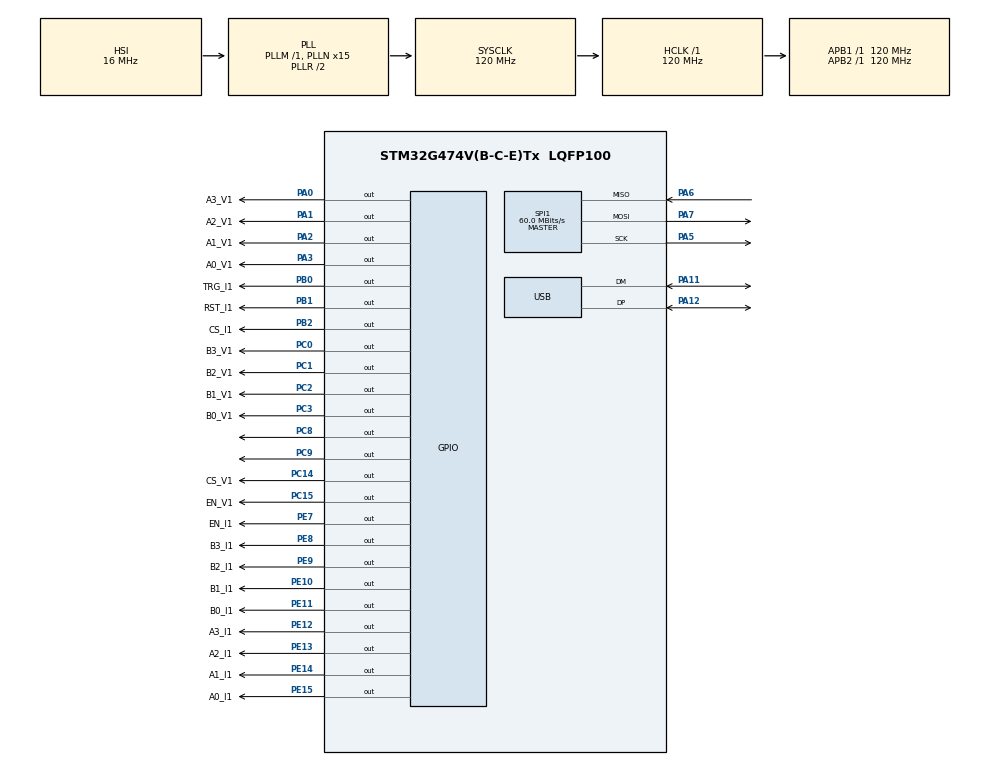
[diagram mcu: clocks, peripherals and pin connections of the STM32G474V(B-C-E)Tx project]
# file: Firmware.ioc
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Dma.Request0=TIM2_UP
Dma.Request1=TIM2_CH1
Dma.Request2=TIM2_CH2
Dma.Request3=TIM2_CH3
Dma.TIM2_CH1.1.Direction=DMA_MEMORY_TO_PERIPH
Dma.TIM2_CH1.1.EventEnable=DISABLE
Dma.TIM2_CH1.1.Instance=DMA1_Channel2
Dma.TIM2_CH1.1.MemDataAlignment=DMA_MDATAALIGN_WORD
Dma.TIM2_CH1.1.MemInc=DMA_MINC_ENABLE
Dma.TIM2_CH1.1.Mode=DMA_NORMAL
Dma.TIM2_CH1.1.PeriphDataAlignment=DMA_PDATAALIGN_WORD
Dma.TIM2_CH1.1.PeriphInc=DMA_PINC_DISABLE
Dma.TIM2_CH1.1.Polarity=HAL_DMAMUX_REQ_GEN_RISING
Dma.TIM2_CH1.1.Priority=DMA_PRIORITY_HIGH
Dma.TIM2_CH1.1.RequestNumber=1
Dma.TIM2_CH1.1.SignalID=NONE
Dma.TIM2_CH1.1.SyncEnable=DISABLE
Dma.TIM2_CH1.1.SyncPolarity=HAL_DMAMUX_SYNC_NO_EVENT
Dma.TIM2_CH1.1.SyncRequestNumber=1
Dma.TIM2_CH1.1.SyncSignalID=NONE
Dma.TIM2_CH2.2.Direction=DMA_MEMORY_TO_PERIPH
Dma.TIM2_CH2.2.EventEnable=DISABLE
Dma.TIM2_CH2.2.Instance=DMA1_Channel3
Dma.TIM2_CH2.2.MemDataAlignment=DMA_MDATAALIGN_WORD
Dma.TIM2_CH2.2.MemInc=DMA_MINC_ENABLE
Dma.TIM2_CH2.2.Mode=DMA_NORMAL
Dma.TIM2_CH2.2.PeriphDataAlignment=DMA_PDATAALIGN_WORD
Dma.TIM2_CH2.2.PeriphInc=DMA_PINC_DISABLE
Dma.TIM2_CH2.2.Polarity=HAL_DMAMUX_REQ_GEN_RISING
Dma.TIM2_CH2.2.Priority=DMA_PRIORITY_HIGH
Dma.TIM2_CH2.2.RequestNumber=1
Dma.TIM2_CH2.2.SignalID=NONE
Dma.TIM2_CH2.2.SyncEnable=DISABLE
Dma.TIM2_CH2.2.SyncPolarity=HAL_DMAMUX_SYNC_NO_EVENT
Dma.TIM2_CH2.2.SyncRequestNumber=1
Dma.TIM2_CH2.2.SyncSignalID=NONE
Dma.TIM2_CH3.3.Direction=DMA_PERIPH_TO_MEMORY
Dma.TIM2_CH3.3.EventEnable=DISABLE
Dma.TIM2_CH3.3.Instance=DMA1_Channel4
Dma.TIM2_CH3.3.MemDataAlignment=DMA_MDATAALIGN_HALFWORD
Dma.TIM2_CH3.3.MemInc=DMA_MINC_ENABLE
Dma.TIM2_CH3.3.Mode=DMA_NORMAL
Dma.TIM2_CH3.3.PeriphDataAlignment=DMA_PDATAALIGN_HALFWORD
Dma.TIM2_CH3.3.PeriphInc=DMA_PINC_DISABLE
Dma.TIM2_CH3.3.Polarity=HAL_DMAMUX_REQ_GEN_RISING
Dma.TIM2_CH3.3.Priority=DMA_PRIORITY_VERY_HIGH
Dma.TIM2_CH3.3.RequestNumber=1
Dma.TIM2_CH3.3.SignalID=NONE
Dma.TIM2_CH3.3.SyncEnable=DISABLE
Dma.TIM2_CH3.3.SyncPolarity=HAL_DMAMUX_SYNC_NO_EVENT
Dma.TIM2_CH3.3.SyncRequestNumber=1
Dma.TIM2_CH3.3.SyncSignalID=NONE
Dma.TIM2_UP.0.Direction=DMA_MEMORY_TO_PERIPH
Dma.TIM2_UP.0.EventEnable=DISABLE
Dma.TIM2_UP.0.Instance=DMA1_Channel1
Dma.TIM2_UP.0.MemDataAlignment=DMA_MDATAALIGN_HALFWORD
Dma.TIM2_UP.0.MemInc=DMA_MINC_ENABLE
Dma.TIM2_UP.0.Mode=DMA_NORMAL
Dma.TIM2_UP.0.PeriphDataAlignment=DMA_PDATAALIGN_HALFWORD
Dma.TIM2_UP.0.PeriphInc=DMA_PINC_DISABLE
Dma.TIM2_UP.0.Polarity=HAL_DMAMUX_REQ_GEN_RISING
Dma.TIM2_UP.0.Priority=DMA_PRIORITY_VERY_HIGH
Dma.TIM2_UP.0.RequestNumber=1
Dma.TIM2_UP.0.SignalID=NONE
Dma.TIM2_UP.0.SyncEnable=DISABLE
Dma.TIM2_UP.0.SyncPolarity=HAL_DMAMUX_SYNC_NO_EVENT
Dma.TIM2_UP.0.SyncRequestNumber=1
Dma.TIM2_UP.0.SyncSignalID=NONE
Mcu.Family=STM32G4
Mcu.Name=STM32G474V(B-C-E)Tx
Mcu.Package=LQFP100
NVIC.DMA1_Channel1_IRQn=true\:0\:0\:false\:false\:true\:false\:true\:true
NVIC.DMA1_Channel2_IRQn=true\:0\:0\:false\:false\:true\:false\:true\:true
NVIC.DMA1_Channel3_IRQn=true\:0\:0\:false\:false\:true\:false\:true\:true
NVIC.DMA1_Channel4_IRQn=true\:0\:0\:false\:false\:true\:false\:true\:true
NVIC.PriorityGroup=NVIC_PRIORITYGROUP_4
NVIC.SPI1_IRQn=true\:0\:0\:false\:false\:true\:true\:true\:true
NVIC.TIM2_IRQn=true\:0\:0\:false\:false\:true\:true\:true\:true
NVIC.USB_LP_IRQn=true\:0\:0\:false\:false\:true\:false\:true\:true
PA0.GPIO_Label=A3_V1
PA0.GPIO_PuPd=GPIO_PULLDOWN
PA0.Signal=GPIO_Output
PA1.GPIO_Label=A2_V1
PA1.GPIO_PuPd=GPIO_PULLDOWN
PA1.Signal=GPIO_Output
PA11.Mode=Device
PA11.Signal=USB_DM
PA12.Mode=Device
PA12.Signal=USB_DP
PA13.Mode=Serial_Wire
PA13.Signal=SYS_JTMS-SWDIO
PA14.Mode=Serial_Wire
PA14.Signal=SYS_JTCK-SWCLK
PA2.GPIO_Label=A1_V1
PA2.GPIO_PuPd=GPIO_PULLDOWN
PA2.Signal=GPIO_Output
PA3.GPIO_Label=A0_V1
PA3.GPIO_PuPd=GPIO_PULLDOWN
PA3.Signal=GPIO_Output
PA5.GPIO_Speed=GPIO_SPEED_FREQ_VERY_HIGH
PA5.Mode=Full_Duplex_Master
PA5.Signal=SPI1_SCK
PA6.GPIO_Speed=GPIO_SPEED_FREQ_VERY_HIGH
PA6.Mode=Full_Duplex_Master
PA6.Signal=SPI1_MISO
PA7.GPIO_Speed=GPIO_SPEED_FREQ_VERY_HIGH
PA7.Mode=Full_Duplex_Master
PA7.Signal=SPI1_MOSI
PB0.GPIO_Label=TRG_I1
PB0.PinState=GPIO_PIN_SET
PB0.Signal=GPIO_Output
PB1.GPIO_Label=RST_I1
PB1.PinState=GPIO_PIN_SET
PB1.Signal=GPIO_Output
PB2.GPIO_Label=CS_I1
PB2.PinState=GPIO_PIN_SET
PB2.Signal=GPIO_Output
PC0.GPIO_Label=B3_V1
PC0.GPIO_PuPd=GPIO_PULLDOWN
PC0.Signal=GPIO_Output
PC1.GPIO_Label=B2_V1
PC1.GPIO_PuPd=GPIO_PULLDOWN
PC1.Signal=GPIO_Output
PC14-OSC32_IN.GPIO_Label=CS_V1
PC14-OSC32_IN.GPIO_PuPd=GPIO_NOPULL
PC14-OSC32_IN.PinState=GPIO_PIN_SET
PC14-OSC32_IN.Signal=GPIO_Output
PC15-OSC32_OUT.GPIO_Label=EN_V1
PC15-OSC32_OUT.GPIO_PuPd=GPIO_PULLDOWN
PC15-OSC32_OUT.Signal=GPIO_Output
PC2.GPIO_Label=B1_V1
PC2.GPIO_PuPd=GPIO_PULLDOWN
PC2.Signal=GPIO_Output
PC3.GPIO_Label=B0_V1
PC3.GPIO_PuPd=GPIO_PULLDOWN
PC3.Signal=GPIO_Output
PC8.GPIO_PuPd=GPIO_NOPULL
PC8.PinState=GPIO_PIN_SET
PC8.Signal=GPIO_Output
PC9.GPIO_PuPd=GPIO_NOPULL
PC9.PinState=GPIO_PIN_SET
PC9.Signal=GPIO_Output
PE10.GPIO_Label=B1_I1
PE10.GPIO_PuPd=GPIO_PULLDOWN
PE10.Signal=GPIO_Output
PE11.GPIO_Label=B0_I1
PE11.GPIO_PuPd=GPIO_PULLDOWN
PE11.Signal=GPIO_Output
PE12.GPIO_Label=A3_I1
PE12.GPIO_PuPd=GPIO_PULLDOWN
PE12.Signal=GPIO_Output
PE13.GPIO_Label=A2_I1
PE13.GPIO_PuPd=GPIO_PULLDOWN
PE13.Signal=GPIO_Output
PE14.GPIO_Label=A1_I1
PE14.GPIO_PuPd=GPIO_PULLDOWN
PE14.Signal=GPIO_Output
PE15.GPIO_Label=A0_I1
PE15.GPIO_PuPd=GPIO_PULLDOWN
PE15.Signal=GPIO_Output
PE7.GPIO_Label=EN_I1
PE7.GPIO_PuPd=GPIO_PULLDOWN
PE7.Signal=GPIO_Output
PE8.GPIO_Label=B3_I1
PE8.GPIO_PuPd=GPIO_PULLDOWN
PE8.Signal=GPIO_Output
PE9.GPIO_Label=B2_I1
PE9.GPIO_PuPd=GPIO_PULLDOWN
PE9.Signal=GPIO_Output
ProjectManager.HeapSize=0x500
ProjectManager.StackSize=0x400
ProjectManager.TargetToolchain=STM32CubeIDE
RCC.ADC12Freq_Value=120000000
RCC.ADC345Freq_Value=120000000
RCC.AHBFreq_Value=120000000
RCC.APB1Freq_Value=120000000
RCC.APB1TimFreq_Value=120000000
RCC.APB2Freq_Value=120000000
RCC.APB2TimFreq_Value=120000000
RCC.CK48CLockSelection=RCC_USBCLKSOURCE_HSI48
RCC.CortexFreq_Value=120000000
RCC.EXTERNAL_CLOCK_VALUE=12288000
RCC.HCLKFreq_Value=120000000
RCC.HSE_VALUE=48000000
RCC.HSI48_VALUE=48000000
RCC.HSI_VALUE=16000000
RCC.LSE_VALUE=32768
RCC.PLLN=15
RCC.PLLQ=RCC_PLLQ_DIV4
RCC.SYSCLKFreq_VALUE=120000000
RCC.SYSCLKSource=RCC_SYSCLKSOURCE_PLLCLK
RCC.USBFreq_Value=48000000
RCC.VCOOutputFreq_Value=240000000
SPI1.BaudRatePrescaler=SPI_BAUDRATEPRESCALER_2
SPI1.CLKPhase=SPI_PHASE_1EDGE
SPI1.CalculateBaudRate=60.0 MBits/s
SPI1.DataSize=SPI_DATASIZE_16BIT
SPI1.Direction=SPI_DIRECTION_2LINES
SPI1.Mode=SPI_MODE_MASTER
SPI1.NSSPMode=SPI_NSS_PULSE_ENABLE
SPI1.VirtualType=VM_MASTER
TIM2.AutoReloadPreload=TIM_AUTORELOAD_PRELOAD_ENABLE
TIM2.Channel-PWM\ Generation1\ No\ Output=TIM_CHANNEL_1
TIM2.Channel-PWM\ Generation2\ No\ Output=TIM_CHANNEL_2
TIM2.Channel-PWM\ Generation3\ No\ Output=TIM_CHANNEL_3
TIM2.OCFastMode_PWM-PWM\ Generation1\ No\ Output=TIM_OCFAST_ENABLE
TIM2.OCFastMode_PWM-PWM\ Generation2\ No\ Output=TIM_OCFAST_ENABLE
TIM2.PeriodNoDither=12000
TIM2.PulseNoDither_1=0
TIM2.PulseNoDither_2=0
USB_DEVICE.CLASS_NAME_FS=CDC
USB_DEVICE.VirtualMode=Cdc
USB_DEVICE.VirtualModeFS=Cdc_FS
VP_SYS_VS_DBSignals.Mode=DisableDeadBatterySignals
VP_TIM2_VS_ClockSourceINT.Mode=Internal
VP_TIM2_VS_no_output1.Mode=PWM Generation1 No Output
VP_TIM2_VS_no_output2.Mode=PWM Generation2 No Output
VP_TIM2_VS_no_output3.Mode=PWM Generation3 No Output
VP_USB_DEVICE_VS_USB_DEVICE_CDC_FS.Mode=CDC_FS
board=custom

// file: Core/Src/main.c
/* USER CODE BEGIN Header */
/**
  ******************************************************************************
  * @file           : main.c
  * @brief          : Main program body
  ******************************************************************************
  * @attention
  *
  * Copyright (c) 2025 STMicroelectronics.
  * All rights reserved.
  *
  * This software is licensed under terms that can be found in the LICENSE file
  * in the root directory of this software component.
  * If no LICENSE file comes with this software, it is provided AS-IS.
  *
  ******************************************************************************
  */
/* USER CODE END Header */
#include "main.h"
#include "dma.h"
#include "spi.h"
#include "tim.h"
#include "usb_device.h"
#include "gpio.h"

/* USER CODE BEGIN Includes */
#include <stdbool.h>
#include <stdio.h>
#include <stdlib.h>
#include <string.h>
#include <math.h>
#include "usbd_cdc_if.h"
#include "Mux.h"
#include "Sense.h"
#include "AD9102.h"
#include "stm32g4xx_hal_spi.h"
/* USER CODE END Includes */

/* USER CODE BEGIN PD */
#define AD9102_CLK 50e6
#define F_TARG 50e3
#define F_BIN 100e3

#define N_EL 16

/* USER CODE END PD */

/* USER CODE BEGIN PV */
mux_t sense_V1;
mux_t stim_I1;
AD9102_t AD9102;
uint32_t gl_ticks = 0;
int16_t lut[4000] = {0};

/* USER CODE END PV */

void SystemClock_Config(void);
/* USER CODE BEGIN PFP */

void test_stim(void);
void get_frameSS(void);
void get_frameTR(void);
void test_bin(void);
void sendBuffer(uint8_t *adcBuffer, uint8_t packetType, uint16_t dataLength);
void getXframes(uint32_t Xframes);
void getXframesTdelay(uint32_t Xframes, uint32_t Tdelay);
void get_frameAlternate(bool is_even);
/* USER CODE END PFP */

int main(void)
{

  /* MCU Configuration--------------------------------------------------------*/

  /* Reset of all peripherals, Initializes the Flash interface and the Systick. */
  HAL_Init();

  /* Configure the system clock */
  SystemClock_Config();

  /* Initialize all configured peripherals */
  MX_GPIO_Init();
  MX_DMA_Init();
  MX_SPI1_Init();
  MX_TIM2_Init();
  MX_USB_Device_Init();
  /* USER CODE BEGIN 2 */

  initAD9102(&AD9102, GPIOB, TRG_I1_Pin, RST_I1_Pin, CS_I1_Pin, AD9102_CLK);

  mux_Init(&sense_V1,GPIOA, A0_V1_Pin, A1_V1_Pin, A2_V1_Pin, A3_V1_Pin,
			GPIOC, B0_V1_Pin, B1_V1_Pin, B2_V1_Pin, B3_V1_Pin,
			GPIOC, EN_V1_Pin);
  mux_Init(&stim_I1 ,GPIOE, A0_I1_Pin, A1_I1_Pin, A2_I1_Pin, A3_I1_Pin,
  			GPIOE, B0_I1_Pin, B1_I1_Pin, B2_I1_Pin, B3_I1_Pin,
  			GPIOE, EN_I1_Pin);

  HAL_Delay(1000);

  init_DDS(&AD9102, F_TARG);

  HAL_Delay(1000);

  /* USER CODE END 2 */

  /* Infinite loop */
  /* USER CODE BEGIN WHILE */
  while (1)
  {
	  get_frameSS();
    /* USER CODE END WHILE */

  }
}

void SystemClock_Config(void)
{
  RCC_OscInitTypeDef RCC_OscInitStruct = {0};
  RCC_ClkInitTypeDef RCC_ClkInitStruct = {0};

  /** Configure the main internal regulator output voltage
  */
  HAL_PWREx_ControlVoltageScaling(PWR_REGULATOR_VOLTAGE_SCALE1);

  /** Initializes the RCC Oscillators according to the specified parameters
  * in the RCC_OscInitTypeDef structure.
  */
  RCC_OscInitStruct.OscillatorType = RCC_OSCILLATORTYPE_HSI|RCC_OSCILLATORTYPE_HSI48;
  RCC_OscInitStruct.HSIState = RCC_HSI_ON;
  RCC_OscInitStruct.HSICalibrationValue = RCC_HSICALIBRATION_DEFAULT;
  RCC_OscInitStruct.HSI48State = RCC_HSI48_ON;
  RCC_OscInitStruct.PLL.PLLState = RCC_PLL_ON;
  RCC_OscInitStruct.PLL.PLLSource = RCC_PLLSOURCE_HSI;
  RCC_OscInitStruct.PLL.PLLM = RCC_PLLM_DIV1;
  RCC_OscInitStruct.PLL.PLLN = 15;
  RCC_OscInitStruct.PLL.PLLP = RCC_PLLP_DIV2;
  RCC_OscInitStruct.PLL.PLLQ = RCC_PLLQ_DIV4;
  RCC_OscInitStruct.PLL.PLLR = RCC_PLLR_DIV2;
  if (HAL_RCC_OscConfig(&RCC_OscInitStruct) != HAL_OK)
  {
    Error_Handler();
  }

  /** Initializes the CPU, AHB and APB buses clocks
  */
  RCC_ClkInitStruct.ClockType = RCC_CLOCKTYPE_HCLK|RCC_CLOCKTYPE_SYSCLK
                              |RCC_CLOCKTYPE_PCLK1|RCC_CLOCKTYPE_PCLK2;
  RCC_ClkInitStruct.SYSCLKSource = RCC_SYSCLKSOURCE_PLLCLK;
  RCC_ClkInitStruct.AHBCLKDivider = RCC_SYSCLK_DIV1;
  RCC_ClkInitStruct.APB1CLKDivider = RCC_HCLK_DIV1;
  RCC_ClkInitStruct.APB2CLKDivider = RCC_HCLK_DIV1;

  if (HAL_RCC_ClockConfig(&RCC_ClkInitStruct, FLASH_LATENCY_3) != HAL_OK)
  {
    Error_Handler();
  }
}

/* USER CODE BEGIN 4 */

void get_frameSS(void) {
	const uint32_t num_Meas = N_EL * N_EL - N_EL * 3;
	float measurements[num_Meas];
	uint32_t idx = 0;

	int16_t adcBuffer1[BUFFER_SIZE] = {0};
	int16_t adcBuffer2[BUFFER_SIZE] = {0};
	int16_t isFirst = 1;
	int16_t activeBuff = 0;

	for (size_t i = 1; i < (N_EL + 1); i++) {
		uint8_t stim1 = i;
		uint8_t stim2 = (i < 16) ? (i + 1) : 1;

		mux_SetMuxPos(&stim_I1, stim1);
		mux_SetMuxNeg(&stim_I1, stim2);
		mux_Enable(&stim_I1);
		enableOut(&AD9102);

		for (size_t j = 1; j < (N_EL + 1); j++) {
			uint8_t sense1 = j;
			uint8_t sense2 = (j < 16) ? (j + 1) : 1;
			if (stim1 != sense1 && stim1 != sense2 && stim2 != sense1 && stim2 != sense2) {
				mux_SetMuxPos(&sense_V1, sense1);
				mux_SetMuxNeg(&sense_V1, sense2);

				mux_Enable(&sense_V1);

				if (activeBuff == 0) {
					collect_Buffer(adcBuffer1,&AD9102);

					if (!isFirst) {
						float mag = get_Mag(adcBuffer2, F_TARG);
						measurements[idx] = mag;
						idx++;
					} else {
						isFirst = 0;
					}

					activeBuff = 1;
					waitBuffer();

//					sendBuffer((uint8_t*)adcBuffer1, 0x01, BUFFER_SIZE);
				} else {
					collect_Buffer(adcBuffer2,&AD9102);
					float mag = get_Mag(adcBuffer1, F_TARG);
					measurements[idx] = mag;
					idx++;
					activeBuff = 0;
					waitBuffer();

//					sendBuffer((uint8_t*)adcBuffer2, 0x01, BUFFER_SIZE);
				}

				mux_Disable(&sense_V1);

			}
		}
		disableOut(&AD9102);
		mux_Disable(&stim_I1);
	}

	if (activeBuff == 0) {
		collect_Buffer(adcBuffer1,&AD9102);
		float mag = get_Mag(adcBuffer2, F_TARG);
		measurements[idx] = mag;
		idx++;
		activeBuff = 1;
		waitBuffer();
//		sendBuffer((uint8_t*)adcBuffer1, 0x01, BUFFER_SIZE);
	} else {
		collect_Buffer(adcBuffer2,&AD9102);
		float mag = get_Mag(adcBuffer1, F_TARG);
		measurements[idx] = mag;
		idx++;
		waitBuffer();
//		sendBuffer((uint8_t*)adcBuffer2, 0x01, BUFFER_SIZE);
		activeBuff = 0;
	}

	sendBuffer((uint8_t*)measurements, 0x02, num_Meas);

	HAL_GPIO_TogglePin(GPIOC, GPIO_PIN_9);
}

void sendBuffer(uint8_t *data, uint8_t packetType, uint16_t dataLength) {
	//packetType 0x01 == uint16_t 0x02 == float
	uint8_t dataLengthMSB = (dataLength >> 8) & 0xFF;  // Extract MSB
	uint8_t dataLengthLSB = dataLength & 0xFF;         // Extract LSB

    uint8_t header[5] = {0xAA, 0x55, packetType, dataLengthMSB, dataLengthLSB};
    uint8_t footer[2] = {0x55, 0xAA};

    // Send header
    while (CDC_Transmit_FS(header, sizeof(header)) == USBD_BUSY);
    HAL_Delay(1);

    size_t dataSize = (packetType == 0x01) ? (dataLength * 2) : (dataLength * 4);
//     Send data in 64-byte chunks
    for (size_t i = 0; i < dataSize; i += 64) {
		while (CDC_Transmit_FS(&data[i], (dataSize - i > 64) ? 64 : dataSize - i) == USBD_BUSY);
	}

    // Send footer
    while (CDC_Transmit_FS(footer, sizeof(footer))== USBD_BUSY);
}

void getXframes(uint32_t Xframes) {
	for (size_t i = 0; i < Xframes; i++) {
		get_frameSS();
	}
}

void getXframesTdelay(uint32_t Xframes, uint32_t Tdelay) {
	getXframes(Xframes);
	for (size_t i = 0; i < Tdelay; i++) {
		HAL_Delay(1000);
	}
}

//void test_stim(void) {
//	mux_SetMuxPos(&stim_I1,1);
//	mux_SetMuxNeg(&stim_I1,2);
//	mux_Enable(&stim_I1);
//
//	mux_SetMuxPos(&sense_V1, 3);
//	mux_SetMuxNeg(&sense_V1, 4);
//	mux_Enable(&sense_V1);
//
//	enableOut(&AD9102);
//	HAL_Delay(10);
//	disableOut(&AD9102);
//
//	mux_Disable(&stim_I1);
//	mux_Disable(&sense_V1);
//	HAL_Delay(10);
//}
//
//
//void test_bin(void) {
//	const uint32_t num_Meas = N_EL * N_EL - N_EL * 3;
//	float measurements[num_Meas];
//	uint32_t idx = 0;
//
//	for (size_t i = 1; i < (N_EL + 1); i++) {
//		//	uint8_t stim1 = 1;
//		//	uint8_t stim2 = 2;
//		uint8_t stim1 = i;
//		uint8_t stim2 = (i < 16) ? (i + 1) : 1;
//
//		mux_SetMuxPos(&stim_I1, stim1);
//		mux_SetMuxNeg(&stim_I1, stim2);
//		mux_Enable(&stim_I1);
//
//		for (size_t j = 1; j < (N_EL + 1); j++) {
//	//	size_t j = 5;
//			uint8_t sense1 = j;
//			uint8_t sense2 = (j < 16) ? (j + 1) : 1;
//
//			if (stim1 != sense1 && stim1 != sense2 && stim2 != sense1) {
//				int16_t adcBuffer[BUFFER_SIZE] = {0};
//
//
//				mux_SetMuxPos(&sense_V1, sense1);
//				mux_SetMuxNeg(&sense_V1, sense2);
//				mux_Enable(&sense_V1);
//				HAL_Delay(1);
//
//				enableOut(&AD9102);
//
//	//			HAL_Delay(1);
//
//				collect_Buffer(adcBuffer,&AD9102);
//
//				disableOut(&AD9102);
//
//				mux_Disable(&sense_V1);
//
//				float mag = get_MagBin(adcBuffer, 0);
//				measurements[idx] = mag;
//				idx++;
//				sendBuffer((uint8_t*)adcBuffer, 0x01, BUFFER_SIZE);
//			}
//		}
//		mux_Disable(&stim_I1);
//	}
//
//
////	sendBuffer((uint8_t*)measurements, 0x02, 208);
////	HAL_Delay(1000);
//}
//
//void get_frameTR(void) {
//	int16_t adcBuffer[BUFFER_SIZE] = {0};
//	size_t i = 1;
//	size_t j = 3;
////	for (size_t i = 1; i < (N_EL + 1); i++) {
//		uint8_t stim1 = i;
//		uint8_t stim2 = (i < 16) ? (i + 1) : 1;
//
//		mux_SetMuxPos(&stim_I1, stim1);
//		mux_SetMuxNeg(&stim_I1, stim2);
//		mux_Enable(&stim_I1);
//
////		for (size_t j = 1; j < (N_EL + 1); j++) {
//			uint8_t sense1 = j;
//			uint8_t sense2 = (j < 16) ? (j + 1) : 1;
//
//			if (stim1 != sense1 && stim1 != sense2 && stim2 != sense1) {
//				mux_SetMuxPos(&sense_V1, sense1);
//				mux_SetMuxNeg(&sense_V1, sense2);
//				mux_Enable(&sense_V1);
//
//				collect_Buffer(adcBuffer,&AD9102);
//
//				enableOut(&AD9102);
//
//				waitBuffer();
//
//				disableOut(&AD9102);
//
//				sendBuffer((uint8_t*)adcBuffer, 0x01, BUFFER_SIZE);
//
//				mux_Disable(&sense_V1);
//			}
////		}
//		mux_Disable(&stim_I1);
////	}
//}

//void get_frameAlternate(bool is_even) {
//
//	const uint32_t num_Meas = N_EL * N_EL - N_EL * 3;
//	float measurements[num_Meas];
//	uint32_t count = 0;
//
//	int16_t adcBuffer1[BUFFER_SIZE] = {0};
//	int16_t adcBuffer2[BUFFER_SIZE] = {0};
//	int16_t isFirst = 1;
//	int16_t activeBuff = 0;
//
//	uint8_t stim1 = 1;
//	uint8_t stim2 = 2;
//	uint8_t sense1 = 3;
//	uint8_t sense2 = 4;
//	uint32_t idx = 1;
//	uint32_t jdx = 1;
//
//
//
//	for (size_t i = 1; i < (N_EL + 1); i++) {
//		if (is_even){
//			idx = 2 * i;
//			stim1 = idx;
//			stim2 = (idx < 16) ? (idx + 2) : 2;
//		} else {
//			idx = 2 * i - 1;
//			stim1 = idx;
//			stim2 = (idx < 15) ? (idx + 2) : 1;
//		}
//
//		mux_SetMuxPos(&stim_I1, stim1);
//		mux_SetMuxNeg(&stim_I1, stim2);
//		mux_Enable(&stim_I1);
//
//		for (size_t j = 1; j < (N_EL + 1); j++) {
//			if (is_even){
//				jdx = 2 * j;
//				sense1 = jdx;
//				sense2 = (jdx < 16) ? (jdx + 2) : 2;
//			} else {
//				jdx = 2 * j - 1;
//				sense1 = jdx;
//				sense2 = (jdx < 15) ? (jdx + 2) : 1;
//			}
//
//
//			if (stim1 != sense1 && stim1 != sense2 && stim2 != sense1) {
////				HAL_Delay(1000);
//				mux_SetMuxPos(&sense_V1, sense1);
//				mux_SetMuxNeg(&sense_V1, sense2);
//
//				mux_Enable(&sense_V1);
//
//				enableOut(&AD9102);
//
//				if (activeBuff == 0) {
//					collect_Buffer(adcBuffer1,&AD9102);
//
//					if (!isFirst) {
//						float mag = get_Mag(adcBuffer2, F_TARG);
//						measurements[count] = mag;
//						count++;
//					} else {
//						isFirst = 0;
//					}
//
//					activeBuff = 1;
//					waitBuffer();
//
////					sendBuffer((uint8_t*)adcBuffer1, 0x01, BUFFER_SIZE);
//				} else {
//					collect_Buffer(adcBuffer2,&AD9102);
//					float mag = get_Mag(adcBuffer1, F_TARG);
//					measurements[count] = mag;
//					count++;
//					activeBuff = 0;
//					waitBuffer();
//
////					sendBuffer((uint8_t*)adcBuffer2, 0x01, BUFFER_SIZE);
//				}
//
//
//				disableOut(&AD9102);
//
//				mux_Disable(&sense_V1);
//
////				HAL_Delay(100);
//
////				float mag = get_Mag(adcBuffer, F_TARG);
//
//			}
//		}
//		mux_Disable(&stim_I1);
//	}
//
//	if (activeBuff == 0) {
//		collect_Buffer(adcBuffer1,&AD9102);
//		float mag = get_Mag(adcBuffer2, F_TARG);
//		measurements[count] = mag;
//		count++;
//		activeBuff = 1;
//		waitBuffer();
////		sendBuffer((uint8_t*)adcBuffer1, 0x01, BUFFER_SIZE);
//	} else {
//		collect_Buffer(adcBuffer2,&AD9102);
//		float mag = get_Mag(adcBuffer1, F_TARG);
//		measurements[count] = mag;
//		count++;
//		waitBuffer();
////		sendBuffer((uint8_t*)adcBuffer2, 0x01, BUFFER_SIZE);
//		activeBuff = 0;
//	}
//
//	sendBuffer((uint8_t*)measurements, 0x02, num_Meas);
//
//}

/* USER CODE END 4 */

void Error_Handler(void)
{
  __disable_irq();
  while (1)
  {
  }
}
